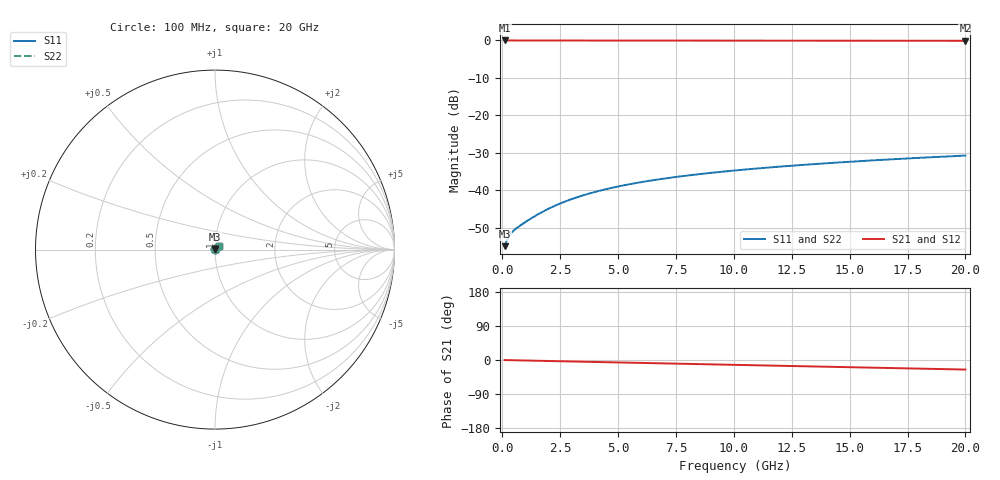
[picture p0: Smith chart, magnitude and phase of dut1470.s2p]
! Touchstone file exported from HFSS 2026.1.0
!  File:  C:/ffzhzh/LocalFiles/Ansys_Project_Files/temp_train_BSMRDL_1470_1783181070_43440.aedt
!  Generated:  12:05:36 AM Jul  5, 2026
!  Design:  BSMRDL
!  Project:  temp_train_BSMRDL_1470_1783181070_43440
! Variables:
!  h_bsmrdl = 4.17um
!  h_ox = 20um
!  h_rdl = 5um
!  h_sub = 80um
!  h_tmrdl = 5um
!  h_tsv = 80um
!  h_via = 3um
!  l_bsmrdl = 440.19um
!  l_sub = 840.19um
!  l_tmrdl = 200um
!  m_sub = 200um
!  pitch = 32.1um
!  r_tsv = 6um
!  s_tmrdl = 10um
!  w_bsmrdl = 26.44um
!  w_sub = 500um
!  w_tmrdl = 12um
!  x_tsv_center1 = 206um
!  x_tsv_center2 = 672.63um
!  x_tsv_center3 = 884.63um
!  x_tsv_center4 = 1351.26um
!  x_tsv_center5 = 1563.26um
!  x_tsv_center6 = 2029.89um
# GHz S MA R 50.000000
! Terminal data exported
! Port[1] = BSM_RDL1_1_T1
! Port[2] = BSM_RDL1_1_T2
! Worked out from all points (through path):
!   200 points, 100 MHz to 20 GHz, reference 50 ohm
!   highest |S21| = -0.01 dB at 100 MHz (marker M1); lowest = -0.1 dB at 20 GHz (marker M2)
!   group delay of S21, straight-line fit = 3.49 ps
!   lowest |S11| = -54.9 dB at 100 MHz (marker M3), VSWR 1.00, Z = 50.2 + j0.058 ohm
!   |S11| at or under -10 dB: start of sweep to end of sweep
!   |S22| runs from -54.9 to -30.7 dB; largest |S21 - S12| = 3.2e-15
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0.1  0.001792 18.8  0.9983 -0.2  0.9983 -0.2  0.001792 18.8
! Gamma 0 0 0 0
! Port Impedance 50 0 50 0
0.2  0.00218 26.4  0.9981 -0.3  0.9981 -0.3  0.002182 26.6
0.3  0.002492 29.3  0.9978 -0.4  0.9978 -0.4  0.0025 29.4
0.4  0.002726 31.2  0.9976 -0.6  0.9976 -0.6  0.002739 31.3
0.5  0.002917 33.1  0.9975 -0.7  0.9975 -0.7  0.002933 33.1
0.6  0.003089 35.1  0.9974 -0.8  0.9974 -0.8  0.003105 35.0
1  0.003766 42.6  0.9972 -1.3  0.9972 -1.3  0.003773 42.3
1.6  0.004884 50.1  0.9969 -2.1  0.9969 -2.1  0.004878 49.9
1.9  0.005471 52.3  0.9968 -2.5  0.9968 -2.5  0.005463 52.2
2.2  0.006063 53.9  0.9966 -2.9  0.9966 -2.9  0.006055 53.9
2.8  0.007241 55.8  0.9963 -3.7  0.9963 -3.7  0.007235 55.8
3.5  0.008574 56.7  0.9958 -4.6  0.9958 -4.6  0.008572 56.7
4.2  0.009848 56.7  0.9954 -5.5  0.9954 -5.5  0.009849 56.7
5  0.01123 56.3  0.9948 -6.5  0.9948 -6.5  0.01123 56.3
5.9  0.01268 55.6  0.9942 -7.6  0.9942 -7.6  0.01268 55.5
6.8  0.01403 54.7  0.9936 -8.8  0.9936 -8.8  0.01404 54.6
8.3  0.01613 53.1  0.9927 -10.6  0.9927 -10.6  0.01613 53.1
10.1  0.01843 51.3  0.9918 -12.9  0.9918 -12.9  0.01844 51.2
11.7  0.02034 49.8  0.991 -14.9  0.991 -14.9  0.02035 49.7
13.4  0.02226 48.1  0.9903 -17.0  0.9903 -17.0  0.02228 48.0
16.7  0.02577 45.0  0.989 -21.1  0.989 -21.1  0.02579 44.8
20  0.02901 41.7  0.9879 -25.2  0.9879 -25.2  0.02904 41.5
